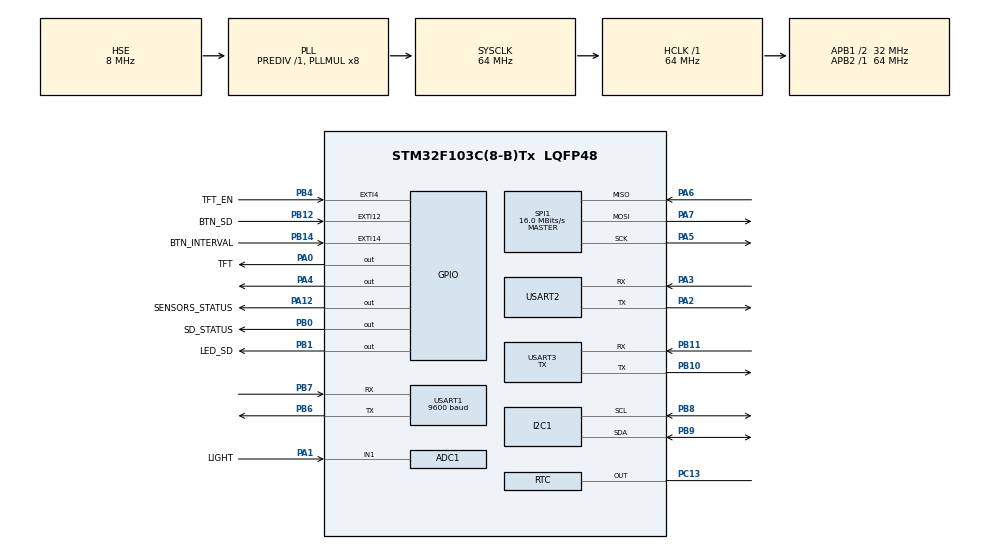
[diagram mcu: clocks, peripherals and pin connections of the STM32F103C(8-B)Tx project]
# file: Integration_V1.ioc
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ADC1.Channel-0\#ChannelRegularConversion=ADC_CHANNEL_1
ADC1.ContinuousConvMode=ENABLE
ADC1.NbrOfConversion=1
ADC1.NbrOfConversionFlag=1
ADC1.Rank-0\#ChannelRegularConversion=1
ADC1.SamplingTime-0\#ChannelRegularConversion=ADC_SAMPLETIME_1CYCLE_5
ADC1.master=1
FATFS._MAX_SS=4096
FATFS._USE_LFN=1
Mcu.Family=STM32F1
Mcu.Name=STM32F103C(8-B)Tx
Mcu.Package=LQFP48
NVIC.EXTI15_10_IRQn=true\:4\:0\:true\:false\:true\:true\:true\:true
NVIC.EXTI4_IRQn=true\:0\:0\:false\:false\:true\:true\:true\:true
NVIC.I2C1_EV_IRQn=true\:3\:0\:true\:false\:true\:true\:true\:true
NVIC.PriorityGroup=NVIC_PRIORITYGROUP_4
NVIC.TIM2_IRQn=true\:2\:0\:true\:false\:true\:true\:true\:true
NVIC.TIM3_IRQn=true\:0\:0\:false\:false\:true\:true\:true\:true
NVIC.USART3_IRQn=true\:0\:0\:false\:false\:true\:true\:true\:true
PA0-WKUP.GPIO_Label=TFT
PA0-WKUP.GPIO_PuPd=GPIO_PULLDOWN
PA0-WKUP.Signal=GPIO_Output
PA1.GPIO_Label=LIGHT
PA1.Signal=ADCx_IN1
PA12.GPIO_Label=SENSORS_STATUS
PA12.Signal=GPIO_Output
PA13.Mode=Serial_Wire
PA13.Signal=SYS_JTMS-SWDIO
PA14.Mode=Serial_Wire
PA14.Signal=SYS_JTCK-SWCLK
PA2.Mode=Asynchronous
PA2.Signal=USART2_TX
PA3.Mode=Asynchronous
PA3.Signal=USART2_RX
PA4.Signal=GPIO_Output
PA5.Mode=Full_Duplex_Master
PA5.Signal=SPI1_SCK
PA6.Mode=Full_Duplex_Master
PA6.Signal=SPI1_MISO
PA7.Mode=Full_Duplex_Master
PA7.Signal=SPI1_MOSI
PB0.GPIO_Label=SD_STATUS
PB0.GPIO_ModeDefaultOutputPP=GPIO_MODE_OUTPUT_PP
PB0.PinState=GPIO_PIN_RESET
PB0.Signal=GPIO_Output
PB1.GPIO_Label=LED_SD
PB1.Signal=GPIO_Output
PB10.Mode=Asynchronous
PB10.Signal=USART3_TX
PB11.Mode=Asynchronous
PB11.Signal=USART3_RX
PB12.GPIO_Label=BTN_SD
PB12.GPIO_ModeDefaultEXTI=GPIO_MODE_IT_FALLING
PB12.GPIO_PuPd=GPIO_PULLUP
PB12.Signal=GPXTI12
PB14.GPIO_Label=BTN_INTERVAL
PB14.GPIO_ModeDefaultEXTI=GPIO_MODE_IT_FALLING
PB14.GPIO_PuPd=GPIO_PULLUP
PB14.Signal=GPXTI14
PB4.GPIO_Label=TFT_EN
PB4.GPIO_ModeDefaultEXTI=GPIO_MODE_IT_RISING_FALLING
PB4.GPIO_PuPd=GPIO_PULLUP
PB4.Signal=GPXTI4
PB6.Mode=Asynchronous
PB6.Signal=USART1_TX
PB7.Mode=Asynchronous
PB7.Signal=USART1_RX
PB8.Mode=I2C
PB8.Signal=I2C1_SCL
PB9.Mode=I2C
PB9.Signal=I2C1_SDA
PC13-TAMPER-RTC.Mode=RTC OUT
PC13-TAMPER-RTC.Signal=RTC_OUT
PC14-OSC32_IN.Mode=LSE-External-Oscillator
PC14-OSC32_IN.Signal=RCC_OSC32_IN
PC15-OSC32_OUT.Mode=LSE-External-Oscillator
PC15-OSC32_OUT.Signal=RCC_OSC32_OUT
PD0-OSC_IN.Mode=HSE-External-Oscillator
PD0-OSC_IN.Signal=RCC_OSC_IN
PD1-OSC_OUT.Mode=HSE-External-Oscillator
PD1-OSC_OUT.Signal=RCC_OSC_OUT
ProjectManager.HeapSize=0x200
ProjectManager.StackSize=0x400
ProjectManager.TargetToolchain=STM32CubeIDE
RCC.ADCPresc=RCC_ADCPCLK2_DIV8
RCC.AHBFreq_Value=64000000
RCC.APB1CLKDivider=RCC_HCLK_DIV2
RCC.APB1Freq_Value=32000000
RCC.APB1TimFreq_Value=64000000
RCC.APB2Freq_Value=64000000
RCC.APB2TimFreq_Value=64000000
RCC.HCLKFreq_Value=64000000
RCC.PLLMUL=RCC_PLL_MUL8
RCC.PLLSourceVirtual=RCC_PLLSOURCE_HSE
RCC.RTCClockSelection=RCC_RTCCLKSOURCE_LSE
RCC.SYSCLKFreq_VALUE=64000000
RCC.SYSCLKSource=RCC_SYSCLKSOURCE_PLLCLK
RCC.USBFreq_Value=64000000
RTC.Date=21
RTC.Hours=18
RTC.Minutes=4
RTC.Month=RTC_MONTH_SEPTEMBER
RTC.WeekDay=RTC_WEEKDAY_WEDNESDAY
RTC.Year=22
SH.ADCx_IN1.0=ADC1_IN1,IN1
SPI1.BaudRatePrescaler=SPI_BAUDRATEPRESCALER_4
SPI1.CalculateBaudRate=16.0 MBits/s
SPI1.Direction=SPI_DIRECTION_2LINES
SPI1.Mode=SPI_MODE_MASTER
SPI1.VirtualType=VM_MASTER
TIM2.AutoReloadPreload=TIM_AUTORELOAD_PRELOAD_ENABLE
TIM2.Period=64000
TIM2.Prescaler=30000 
TIM3.Period=6400-1
TIM3.Prescaler=2000-1
USART1.BaudRate=9600
USART1.Mode=MODE_RX
USART1.VirtualMode=VM_ASYNC
USART2.VirtualMode=VM_ASYNC
USART3.Mode=MODE_TX
USART3.VirtualMode=VM_ASYNC
VP_FATFS_VS_Generic.Mode=User_defined
VP_RTC_VS_RTC_Activate.Mode=RTC_Enabled
VP_RTC_VS_RTC_Calendar.Mode=RTC_Calendar
VP_TIM2_VS_ClockSourceINT.Mode=Internal
VP_TIM3_VS_ClockSourceINT.Mode=Internal
board=custom

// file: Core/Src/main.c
/* USER CODE BEGIN Header */
/**
  ******************************************************************************
  * @file           : main.c
  * @brief          : Main program body
  ******************************************************************************
  * @attention
  *
  * Copyright (c) 2022 STMicroelectronics.
  * All rights reserved.
  *
  * This software is licensed under terms that can be found in the LICENSE file
  * in the root directory of this software component.
  * If no LICENSE file comes with this software, it is provided AS-IS.
  *
  ******************************************************************************
  */
// UART2: DEBUG
// UART1: DUST SENSOR

/* USER CODE END Header */
#include "main.h"
#include "fatfs.h"

/* USER CODE BEGIN Includes */
#include "bmp280.h"
#include "sht21.h"
#include <stdio.h>

/* USER CODE END Includes */

/* USER CODE BEGIN PTD */

//DEFINITIONS FOR STATES
#define IDLE 			0x01
#define GET_TIMEDATE 	0x02
#define READ_SENSORS 	0x03
#define READ_ANALOG 	0x04
#define SEND_DATA		0x05
#define STORE_SD	 	0x06
#define SEND_INFO 		0X07
#define REMOVE_SD 		0x08
#define INSERT_SD 		0x09

//DEFINITIONS FOR INTERVAL MEASUREMENT
#define SEG_30	1
#define MIN_1   2
#define MIN_10  20
#define MIN_30  60
#define HR_1   	120
#define HR_12  1440
#define HR_24   2880

//DEFINITIONS FOR CO2 SENSOR
#define SCD30_I2C_ADDR		0xC2 //The real one is 0x61
#define START_MEASURE_MSB 	0x00
#define START_MEASURE_LSB 	0x10
#define PRESSURE_MSB 		0x00
#define PRESSURE_LSB 		0x00
#define STOP_MEASURE_MSB 	0x01
#define STOP_MEASURE_LSB 	0x04
#define GET_STATUS_MSB 		0x02
#define GET_STATUS_LSB 		0x02
#define READ_MSB 			0x03
#define READ_LSB 			0x00
#define FIRMWARE_MSB		0xD1
#define FIRMWARE_LSB 		0x00
#define RESET_MSB			0xD3
#define RESET_LSB			0x04
#define CRC	0x81

//DEFINITIONS FOR COMMANDS

typedef struct {
	UART_HandleTypeDef *PMS_huart;
	uint8_t PMS_MODE;
	uint16_t PM1_0_atmospheric; // concentration unit * μg/m3 - under atmospheric environment
	uint16_t PM2_5_atmospheric;
	uint16_t PM10_atmospheric;
	uint16_t density_2_5um;
	uint16_t density_5_0um;
	uint16_t density_10um;
}Sensor_PMS;

typedef struct {
	bool BMP280;
	bool SHT21;
	bool dust;
	bool SCD30;
}Sensors;

union {
    float value;
    uint8_t bytes[4];
}u;

//union{
//	uint8_t command;
//	uint8_t byteCommand[1];
//}c;

/* USER CODE END PTD */

/* USER CODE BEGIN PD */
FATFS fs;
FIL fil;
/* USER CODE END PD */

ADC_HandleTypeDef hadc1;

I2C_HandleTypeDef hi2c1;

RTC_HandleTypeDef hrtc;

SPI_HandleTypeDef hspi1;

TIM_HandleTypeDef htim2;
TIM_HandleTypeDef htim3;

UART_HandleTypeDef huart1;
UART_HandleTypeDef huart2;
UART_HandleTypeDef huart3;

/* USER CODE BEGIN PV */

//CONTROL VARIABLES
I2C_HandleTypeDef * scd30_i2c;
volatile uint8_t state = IDLE; //Initial State
Sensors SensorList = {false}; //Array stores sensor status.
volatile bool storeSD = true; //By default, the system store the data on the SD.
volatile uint8_t counterSD = 0; //Count the the times the button was pressed for the SD.
volatile uint8_t counterInterval=0; //Count the times the button was pressed to set the timeLimit.
volatile uint8_t intervalSet=false; //Detect if interval was changed.

//*************************************************** TFT //***************************************************
volatile bool tim2First=true; //To catch the first time the tim2 IT is activated. 30s is the base
volatile bool tim3First=true; //To catch the first time the tim3 IT is activated.

volatile bool txFirstFinished=false;
volatile bool txSecondFinished=false;

uint8_t counter200=0;
bool counter200Flag=true;

uint8_t counterSend=0;
//***************************************************//***************************************************

volatile uint16_t timeLimit = SEG_30; //Default: 30s for each measurement
volatile uint16_t counter30s=0; //Count the times the timer for 30s is deployed.
volatile bool timActive = false; //Flag to know if Main timer is counting seconds.
volatile bool showTFT = true; //Flag to enable or disable TFT display
volatile bool storeFinished = false; //Flag to know if the data was stored on SD.
volatile bool showFinished = false; //Flag to know if the data was displayed on TFT.
volatile bool readFinished = false; //Flag to know if the sensors were read correctly.
volatile uint16_t size=0;  //Size of the sent file

uint32_t counterLog = 0;  //Count for the file generation on SD
uint8_t logStored= 0;  //Count for the file generation on SD
uint8_t counterRx = 0;

volatile uint8_t Data[256];  //Data to be sent
volatile uint8_t DataTFT[256]; //Data sent to the TFT
volatile uint8_t nameFile[256]; //Var to store file name on the SD
volatile uint8_t bytes[4];

Sensor_PMS PMS5003 = {0}; //Structure for dust concentration
uint8_t rxbuf[32] = {0}; // Buffer to recieve the response of PMS5003

BMP280_HandleTypedef bmp280; //handler for sensor
uint8_t id=0; //ID for the BME280

RTC_TimeTypeDef time; //For RTC time
RTC_DateTypeDef date; //For RTC date

float pressure, temperature, humidity; //Variables stored
float temperature2, humidity2;
float temperature3, humidity3, CO2;
float light = 99.9; //Test

//Commands sent to the TFT module
uint8_t Commands[4]={0};

/* USER CODE END PV */

void SystemClock_Config(void);
static void MX_GPIO_Init(void);
static void MX_SPI1_Init(void);
static void MX_RTC_Init(void);
static void MX_USART1_UART_Init(void);
static void MX_TIM2_Init(void);
static void MX_I2C1_Init(void);
static void MX_USART2_UART_Init(void);
static void MX_ADC1_Init(void);
static void MX_USART3_UART_Init(void);
static void MX_TIM3_Init(void);
/* USER CODE BEGIN PFP */

Status_Flag Init_SD(void);
Status_Flag Write_SD(char* p);
Status_Flag Init_Sensors(void);
Status_Flag Init_BMP280(void);
Status_Flag SCD30_Init(I2C_HandleTypeDef *hi2c);
Status_Flag Read_BMP280(void);
Status_Flag Read_Dust(void);
Status_Flag Read_All_Sensors(void);
Status_Flag Set_Status(void);
Status_Flag Leer_TFTSwitch(void);
void SCD30_Start(void);
void SCD30_Restart(void);
Status_Flag SCD30_Read(float *temperature, float* humidity, float* CO2);
void WriteMsg(char message[]);
void Calculate_Time(uint16_t time);
void Calculate_SdStat(void);
void Send_Commands(void);

/* USER CODE END PFP */

/* USER CODE BEGIN 0 */
void set_time(void){

	RTC_TimeTypeDef sTime = {0};
	RTC_DateTypeDef DateToUpdate = {0};

	sTime.Hours = 0x08;
	sTime.Minutes = 0x48;
	sTime.Seconds = 0x0;
	WriteMsg("Setting time and date...");
	if (HAL_RTC_SetTime(&hrtc, &sTime, RTC_FORMAT_BCD) != HAL_OK)
	{
	Error_Handler();
	}

	DateToUpdate.WeekDay = RTC_WEEKDAY_FRIDAY;
	DateToUpdate.Month = RTC_MONTH_MARCH;
	DateToUpdate.Date = 0x31;
	DateToUpdate.Year = 0x23;

	if (HAL_RTC_SetDate(&hrtc, &DateToUpdate, RTC_FORMAT_BCD) != HAL_OK)
	{
	Error_Handler();
	}

	/* USER CODE BEGIN Check_RTC_BKUP */
	HAL_RTCEx_BKUPWrite(&hrtc, RTC_BKP_DR1, 0x32F0);
	counterLog=1; //Starts with 0 and then 1. //To create new log file on SD
	HAL_RTCEx_BKUPWrite(&hrtc, RTC_BKP_DR2, counterLog); //First stores counterLog=1.. Always
	/* USER CODE END Check_RTC_BKUP */
}

/* USER CODE END 0 */

int main(void)
{

  /* MCU Configuration--------------------------------------------------------*/

  /* Reset of all peripherals, Initializes the Flash interface and the Systick. */
  HAL_Init();

  /* Configure the system clock */
  SystemClock_Config();

  /* Initialize all configured peripherals */
  MX_GPIO_Init();
  MX_SPI1_Init();
  MX_FATFS_Init();
  MX_RTC_Init();
  MX_USART1_UART_Init();
  MX_TIM2_Init();
  MX_I2C1_Init();
  MX_USART2_UART_Init();
  MX_ADC1_Init();
  MX_USART3_UART_Init();
  MX_TIM3_Init();
  /* USER CODE BEGIN 2 */

  I2C_HandleTypeDef *scd30_i2c;

  if (HAL_RTCEx_BKUPRead(&hrtc, RTC_BKP_DR1) != 0x32F0){ //This is made to avoid reset the time again and again
	  WriteMsg("Setting for 1st time the RTC Time and file name!\r\n");
	  set_time();
	  size=sprintf( (char *)Data, "LOG stored %d.csv\r\n", counterLog);
	  HAL_UART_Transmit(&huart2, Data, size, 1000);
	  __HAL_TIM_SET_COUNTER(&htim2,43689);
  } else { //Solo se reseteo
	  WriteMsg("Just RESET! Was not the 1st time\r\n");
	  counterLog = HAL_RTCEx_BKUPRead(&hrtc, RTC_BKP_DR2);
	  counterLog++;
	  HAL_RTCEx_BKUPWrite(&hrtc, RTC_BKP_DR2, counterLog); //Stores the value for future files
	  size=sprintf( (char *)Data, "LOG stored %d.csv\r\n", counterLog);
	  HAL_UART_Transmit(&huart2, Data, size, 1000);
	  __HAL_TIM_SET_COUNTER(&htim2,43689);
	  intervalSet= true; //CHECK THIS!!!!
  }

  if (HAL_RTCEx_BKUPRead(&hrtc, RTC_BKP_DR4)== 0x1010){ //The limit was modified
	  timeLimit = HAL_RTCEx_BKUPRead(&hrtc, RTC_BKP_DR3);
	  size=sprintf( (char *)Data, "TimeLimit RECOVERED %d\r\n", timeLimit);
	  HAL_UART_Transmit(&huart2, Data, size, 1000);
	  Calculate_Time(timeLimit);
  } else {
	  HAL_RTCEx_BKUPWrite(&hrtc, RTC_BKP_DR3, timeLimit); //30s default
	  Calculate_Time(timeLimit);
  }

  WriteMsg("Welcome to the sensing platform \r\n");
  HAL_GPIO_WritePin(TFT_GPIO_Port, TFT_Pin, 0); //Send 1 to indicate i will send data
  HAL_GPIO_WritePin(SD_STATUS_GPIO_Port, SD_STATUS_Pin, 0); //By default, SD store is enabled.
  HAL_GPIO_WritePin(SENSORS_STATUS_GPIO_Port, SENSORS_STATUS_Pin, 0); //By default, SD store is enabled.

  WriteMsg("Starting... Please Wait\r\n");
  WriteMsg("Checking tft switch\r\n");
  Leer_TFTSwitch(); //Check for the button TFT status
  HAL_Delay(100);
  WriteMsg("Deinit I2C\r\n"); //To get SDC30 work.
  HAL_I2C_DeInit(&hi2c1);
  HAL_Delay(100);
  WriteMsg("Init I2C again\r\n");
  HAL_I2C_Init(&hi2c1);
  HAL_Delay(1000); //before:100

  Init_Sensors(); //Maybe set a condition to stop measurements when some sensor is failing
  Init_SD();
  HAL_ADC_Start(&hadc1);

  Calculate_SdStat();

  WriteMsg("Sending initial commands \r\n");
  Send_Commands();

  HAL_GPIO_WritePin(SD_STATUS_GPIO_Port, SD_STATUS_Pin, 1); //By default, SD store is enabled.
  HAL_GPIO_WritePin(SENSORS_STATUS_GPIO_Port, SENSORS_STATUS_Pin, 1); //By default, SD store is enabled.
  HAL_Delay(500);
  Set_Status();

  /* USER CODE END 2 */

  /* Infinite loop */
  /* USER CODE BEGIN WHILE */
  while (1)
  {
	switch (state) {
		case IDLE: //Read_Dust
			if (!timActive){
				HAL_TIM_Base_Start_IT(&htim2); //Start counting 30s
				timActive=true;
			}
			Read_Dust();
			break;

		case GET_TIMEDATE:
			HAL_RTC_GetTime(&hrtc, &time, RTC_FORMAT_BIN);
			HAL_RTC_GetDate(&hrtc, &date, RTC_FORMAT_BIN);
			state = READ_SENSORS;
			break;

		case READ_SENSORS:
			//Check this and calculate time!
			Read_All_Sensors();
			Set_Status();
			if (storeSD){
				state=STORE_SD;
			} else {
				state = SEND_DATA;
			}
			break;

//		case READ_ANALOG:
////			WriteMsg("ReadAnalog State\r\n");
//			HAL_ADC_PollForConversion(&hadc1, 100);
//			light=HAL_ADC_GetValue(&hadc1);
//			size=sprintf((char *)Data, "The light is: %d \r\n",light);
//			HAL_UART_Transmit(&huart2, Data, size, 1000);
//
//			if (sdPresent){
//				HAL_GPIO_WritePin(LED_YELLOW_GPIO_Port, LED_YELLOW_Pin, 1);
//				state=STORE_SD;
//			} else {
//				HAL_GPIO_WritePin(LED_YELLOW_GPIO_Port, LED_YELLOW_Pin, 0);
//				state=SEND_INFO;
//			}
//			break;

		case STORE_SD:
			memset(Data, 0, sizeof(Data)); //Borra la info de "Data"
			if (PMS5003.PM1_0_atmospheric > 600){
				PMS5003.PM1_0_atmospheric = 0;
			}
			if (PMS5003.PM2_5_atmospheric > 600){
						PMS5003.PM2_5_atmospheric = 0;
					}
			if (PMS5003.PM10_atmospheric > 600){
						PMS5003.PM10_atmospheric = 0;
					}
			size=sprintf((char *)Data, "%d,%d,%d,%d,%d,%.2f,%.2f,%.2f,%.2f,%.2f,%d,%d,%d,%.2f \r\n",time.Hours, time.Minutes, time.Seconds, date.Date, date.Month, temperature, humidity, pressure, CO2,light,PMS5003.PM1_0_atmospheric, PMS5003.PM2_5_atmospheric, PMS5003.PM10_atmospheric,temperature2);
			HAL_UART_Transmit(&huart2, Data, size, 1000); //Debug
			Write_SD(&Data); //Store the frame captured on the SD
			storeFinished=true;
			state=SEND_DATA;
			break;

		case REMOVE_SD:
			memset(Data, 0, sizeof(Data)); //Borra la info de "Data"
			WriteMsg("Extracting SD. Wait...\r\n");
			size=sprintf((char*)Data,"Finishing session\r\n");
			f_open(&fil,nameFile, FA_OPEN_ALWAYS | FA_WRITE | FA_READ);
			f_lseek(&fil, fil.fsize);
			f_puts(Data, &fil);
			f_close(&fil);

			HAL_RTCEx_BKUPWrite(&hrtc, RTC_BKP_DR2, counterLog); //Here the SD is extracted!
			storeSD=false; //Because the SD was removed.
			HAL_GPIO_WritePin(SD_STATUS_GPIO_Port, SD_STATUS_Pin,0);
			Calculate_SdStat();
			Send_Commands();
			WriteMsg("You can extract the SD...\r\n");

			HAL_TIM_Base_Start_IT(&htim2); //Start counting 30s or x time again
			timActive=true;
			tim2First=true; //Check this
			WriteMsg("Timer started again \r\n");
			state=IDLE;
			break;

		case INSERT_SD:
			HAL_GPIO_TogglePin(SD_STATUS_GPIO_Port, SD_STATUS_Pin);
			counterSD=0;
			WriteMsg("Reinserting the SD!\r\n");
			WriteMsg("Restarting...!\r\n");
//			counterLog=1;
//			HAL_RTCEx_BKUPWrite(&hrtc, RTC_BKP_DR2, counterLog); //Here the SD is inserted again!
			NVIC_SystemReset();
			break;

		case SEND_DATA:
			HAL_GPIO_WritePin(TFT_GPIO_Port, TFT_Pin, 1); //Send 1 to indicate i will send data
			WriteMsg("LINE HIGH \r\n");

			//temperature=25.2;
			u.value = temperature;
			HAL_UART_Transmit(&huart3, u.bytes, 4,HAL_MAX_DELAY); //Transmit to the TFT
			WriteMsg("Temperature Sent \r\n");
			//memset(bytes, 0, 4);

			//humidity=48.57;
			u.value=humidity;
			HAL_UART_Transmit(&huart3, u.bytes, 4,HAL_MAX_DELAY); //Transmit to the TFT
			WriteMsg("HUM1 Sent \r\n");

			//pressure = 90.99;
			u.value=pressure;
			HAL_UART_Transmit(&huart3, u.bytes, 4,HAL_MAX_DELAY); //Transmit to the TFT
			WriteMsg("Pressure Sent \r\n");

			u.value = PMS5003.PM1_0_atmospheric;
			HAL_UART_Transmit(&huart3, u.bytes, 4,HAL_MAX_DELAY); //Transmit to the TFT
			WriteMsg("PM1.0 SENT \r\n");
			//memset(bytes, 0, 4);

			u.value=PMS5003.PM2_5_atmospheric;
			HAL_UART_Transmit(&huart3, u.bytes, 4,HAL_MAX_DELAY); //Transmit to the TFT
			WriteMsg("PM2.5 SENT \r\n");

			u.value=PMS5003.PM10_atmospheric;
			HAL_UART_Transmit(&huart3, u.bytes, 4,HAL_MAX_DELAY); //Transmit to the TFT
			WriteMsg("PM10 SENT \r\n");

			u.value = CO2;
			HAL_UART_Transmit(&huart3, u.bytes, 4,HAL_MAX_DELAY); //Transmit to the TFT
			WriteMsg("CO2 SENT \r\n");
			//memset(bytes, 0, 4);

			u.value=light;
			HAL_UART_Transmit(&huart3, u.bytes, 4,HAL_MAX_DELAY); //Transmit to the TFT
			WriteMsg("LIGHT SENT \r\n");

			u.value=temperature2;
			HAL_UART_Transmit(&huart3, u.bytes, 4,HAL_MAX_DELAY); //Transmit to the TFT
			WriteMsg("TEMP2 SENT \r\n");

			HAL_GPIO_WritePin(TFT_GPIO_Port, TFT_Pin, 0); //Send 1 to indicate i will send data
			WriteMsg("LINE LOW \r\n");

			state=IDLE;
			WriteMsg("Going to IDLE... \r\n");
			break;

		default:
			state = IDLE;
			break;
	}

    /* USER CODE END WHILE */

  }
}

void SystemClock_Config(void)
{
  RCC_OscInitTypeDef RCC_OscInitStruct = {0};
  RCC_ClkInitTypeDef RCC_ClkInitStruct = {0};
  RCC_PeriphCLKInitTypeDef PeriphClkInit = {0};

  /** Initializes the RCC Oscillators according to the specified parameters
  * in the RCC_OscInitTypeDef structure.
  */
  RCC_OscInitStruct.OscillatorType = RCC_OSCILLATORTYPE_HSE|RCC_OSCILLATORTYPE_LSE;
  RCC_OscInitStruct.HSEState = RCC_HSE_ON;
  RCC_OscInitStruct.HSEPredivValue = RCC_HSE_PREDIV_DIV1;
  RCC_OscInitStruct.LSEState = RCC_LSE_ON;
  RCC_OscInitStruct.HSIState = RCC_HSI_ON;
  RCC_OscInitStruct.PLL.PLLState = RCC_PLL_ON;
  RCC_OscInitStruct.PLL.PLLSource = RCC_PLLSOURCE_HSE;
  RCC_OscInitStruct.PLL.PLLMUL = RCC_PLL_MUL8;
  if (HAL_RCC_OscConfig(&RCC_OscInitStruct) != HAL_OK)
  {
    Error_Handler();
  }

  /** Initializes the CPU, AHB and APB buses clocks
  */
  RCC_ClkInitStruct.ClockType = RCC_CLOCKTYPE_HCLK|RCC_CLOCKTYPE_SYSCLK
                              |RCC_CLOCKTYPE_PCLK1|RCC_CLOCKTYPE_PCLK2;
  RCC_ClkInitStruct.SYSCLKSource = RCC_SYSCLKSOURCE_PLLCLK;
  RCC_ClkInitStruct.AHBCLKDivider = RCC_SYSCLK_DIV1;
  RCC_ClkInitStruct.APB1CLKDivider = RCC_HCLK_DIV2;
  RCC_ClkInitStruct.APB2CLKDivider = RCC_HCLK_DIV1;

  if (HAL_RCC_ClockConfig(&RCC_ClkInitStruct, FLASH_LATENCY_2) != HAL_OK)
  {
    Error_Handler();
  }
  PeriphClkInit.PeriphClockSelection = RCC_PERIPHCLK_RTC|RCC_PERIPHCLK_ADC;
  PeriphClkInit.RTCClockSelection = RCC_RTCCLKSOURCE_LSE;
  PeriphClkInit.AdcClockSelection = RCC_ADCPCLK2_DIV8;
  if (HAL_RCCEx_PeriphCLKConfig(&PeriphClkInit) != HAL_OK)
  {
    Error_Handler();
  }
}

static void MX_ADC1_Init(void)
{

  ADC_ChannelConfTypeDef sConfig = {0};

  /** Common config
  */
  hadc1.Instance = ADC1;
  hadc1.Init.ScanConvMode = ADC_SCAN_DISABLE;
  hadc1.Init.ContinuousConvMode = ENABLE;
  hadc1.Init.DiscontinuousConvMode = DISABLE;
  hadc1.Init.ExternalTrigConv = ADC_SOFTWARE_START;
  hadc1.Init.DataAlign = ADC_DATAALIGN_RIGHT;
  hadc1.Init.NbrOfConversion = 1;
  if (HAL_ADC_Init(&hadc1) != HAL_OK)
  {
    Error_Handler();
  }

  /** Configure Regular Channel
  */
  sConfig.Channel = ADC_CHANNEL_1;
  sConfig.Rank = ADC_REGULAR_RANK_1;
  sConfig.SamplingTime = ADC_SAMPLETIME_1CYCLE_5;
  if (HAL_ADC_ConfigChannel(&hadc1, &sConfig) != HAL_OK)
  {
    Error_Handler();
  }

}

static void MX_I2C1_Init(void)
{

  hi2c1.Instance = I2C1;
  hi2c1.Init.ClockSpeed = 100000;
  hi2c1.Init.DutyCycle = I2C_DUTYCYCLE_2;
  hi2c1.Init.OwnAddress1 = 0;
  hi2c1.Init.AddressingMode = I2C_ADDRESSINGMODE_7BIT;
  hi2c1.Init.DualAddressMode = I2C_DUALADDRESS_DISABLE;
  hi2c1.Init.OwnAddress2 = 0;
  hi2c1.Init.GeneralCallMode = I2C_GENERALCALL_DISABLE;
  hi2c1.Init.NoStretchMode = I2C_NOSTRETCH_DISABLE;
  if (HAL_I2C_Init(&hi2c1) != HAL_OK)
  {
    Error_Handler();
  }

}

static void MX_RTC_Init(void)
{

  /** Initialize RTC Only
  */
  hrtc.Instance = RTC;
  hrtc.Init.AsynchPrediv = RTC_AUTO_1_SECOND;
  hrtc.Init.OutPut = RTC_OUTPUTSOURCE_ALARM;
  if (HAL_RTC_Init(&hrtc) != HAL_OK)
  {
    Error_Handler();
  }

}

static void MX_SPI1_Init(void)
{

  /* SPI1 parameter configuration*/
  hspi1.Instance = SPI1;
  hspi1.Init.Mode = SPI_MODE_MASTER;
  hspi1.Init.Direction = SPI_DIRECTION_2LINES;
  hspi1.Init.DataSize = SPI_DATASIZE_8BIT;
  hspi1.Init.CLKPolarity = SPI_POLARITY_LOW;
  hspi1.Init.CLKPhase = SPI_PHASE_1EDGE;
  hspi1.Init.NSS = SPI_NSS_SOFT;
  hspi1.Init.BaudRatePrescaler = SPI_BAUDRATEPRESCALER_4;
  hspi1.Init.FirstBit = SPI_FIRSTBIT_MSB;
  hspi1.Init.TIMode = SPI_TIMODE_DISABLE;
  hspi1.Init.CRCCalculation = SPI_CRCCALCULATION_DISABLE;
  hspi1.Init.CRCPolynomial = 10;
  if (HAL_SPI_Init(&hspi1) != HAL_OK)
  {
    Error_Handler();
  }

}

static void MX_TIM2_Init(void)
{

  TIM_ClockConfigTypeDef sClockSourceConfig = {0};
  TIM_MasterConfigTypeDef sMasterConfig = {0};

  htim2.Instance = TIM2;
  htim2.Init.Prescaler = 30000 ;
  htim2.Init.CounterMode = TIM_COUNTERMODE_UP;
  htim2.Init.Period = 64000;
  htim2.Init.ClockDivision = TIM_CLOCKDIVISION_DIV1;
  htim2.Init.AutoReloadPreload = TIM_AUTORELOAD_PRELOAD_ENABLE;
  if (HAL_TIM_Base_Init(&htim2) != HAL_OK)
  {
    Error_Handler();
  }
  sClockSourceConfig.ClockSource = TIM_CLOCKSOURCE_INTERNAL;
  if (HAL_TIM_ConfigClockSource(&htim2, &sClockSourceConfig) != HAL_OK)
  {
    Error_Handler();
  }
  sMasterConfig.MasterOutputTrigger = TIM_TRGO_RESET;
  sMasterConfig.MasterSlaveMode = TIM_MASTERSLAVEMODE_DISABLE;
  if (HAL_TIMEx_MasterConfigSynchronization(&htim2, &sMasterConfig) != HAL_OK)
  {
    Error_Handler();
  }

}

static void MX_TIM3_Init(void)
{

  TIM_ClockConfigTypeDef sClockSourceConfig = {0};
  TIM_MasterConfigTypeDef sMasterConfig = {0};

  htim3.Instance = TIM3;
  htim3.Init.Prescaler = 2000-1;
  htim3.Init.CounterMode = TIM_COUNTERMODE_UP;
  htim3.Init.Period = 6400-1;
  htim3.Init.ClockDivision = TIM_CLOCKDIVISION_DIV1;
  htim3.Init.AutoReloadPreload = TIM_AUTORELOAD_PRELOAD_DISABLE;
  if (HAL_TIM_Base_Init(&htim3) != HAL_OK)
  {
    Error_Handler();
  }
  sClockSourceConfig.ClockSource = TIM_CLOCKSOURCE_INTERNAL;
  if (HAL_TIM_ConfigClockSource(&htim3, &sClockSourceConfig) != HAL_OK)
  {
    Error_Handler();
  }
  sMasterConfig.MasterOutputTrigger = TIM_TRGO_RESET;
  sMasterConfig.MasterSlaveMode = TIM_MASTERSLAVEMODE_DISABLE;
  if (HAL_TIMEx_MasterConfigSynchronization(&htim3, &sMasterConfig) != HAL_OK)
  {
    Error_Handler();
  }

}

static void MX_USART1_UART_Init(void)
{

  huart1.Instance = USART1;
  huart1.Init.BaudRate = 9600;
  huart1.Init.WordLength = UART_WORDLENGTH_8B;
  huart1.Init.StopBits = UART_STOPBITS_1;
  huart1.Init.Parity = UART_PARITY_NONE;
  huart1.Init.Mode = UART_MODE_RX;
  huart1.Init.HwFlowCtl = UART_HWCONTROL_NONE;
  huart1.Init.OverSampling = UART_OVERSAMPLING_16;
  if (HAL_UART_Init(&huart1) != HAL_OK)
  {
    Error_Handler();
  }

}

static void MX_USART2_UART_Init(void)
{

  huart2.Instance = USART2;
  huart2.Init.BaudRate = 115200;
  huart2.Init.WordLength = UART_WORDLENGTH_8B;
  huart2.Init.StopBits = UART_STOPBITS_1;
  huart2.Init.Parity = UART_PARITY_NONE;
  huart2.Init.Mode = UART_MODE_TX_RX;
  huart2.Init.HwFlowCtl = UART_HWCONTROL_NONE;
  huart2.Init.OverSampling = UART_OVERSAMPLING_16;
  if (HAL_UART_Init(&huart2) != HAL_OK)
  {
    Error_Handler();
  }

}

static void MX_USART3_UART_Init(void)
{

  huart3.Instance = USART3;
  huart3.Init.BaudRate = 115200;
  huart3.Init.WordLength = UART_WORDLENGTH_8B;
  huart3.Init.StopBits = UART_STOPBITS_1;
  huart3.Init.Parity = UART_PARITY_NONE;
  huart3.Init.Mode = UART_MODE_TX;
  huart3.Init.HwFlowCtl = UART_HWCONTROL_NONE;
  huart3.Init.OverSampling = UART_OVERSAMPLING_16;
  if (HAL_UART_Init(&huart3) != HAL_OK)
  {
    Error_Handler();
  }

}

static void MX_GPIO_Init(void)
{
  GPIO_InitTypeDef GPIO_InitStruct = {0};

  /* GPIO Ports Clock Enable */
  __HAL_RCC_GPIOC_CLK_ENABLE();
  __HAL_RCC_GPIOD_CLK_ENABLE();
  __HAL_RCC_GPIOA_CLK_ENABLE();
  __HAL_RCC_GPIOB_CLK_ENABLE();

  /*Configure GPIO pin Output Level */
  HAL_GPIO_WritePin(GPIOA, TFT_Pin|GPIO_PIN_4|SENSORS_STATUS_Pin, GPIO_PIN_RESET);

  /*Configure GPIO pin Output Level */
  HAL_GPIO_WritePin(GPIOB, SD_STATUS_Pin|LED_SD_Pin, GPIO_PIN_RESET);

  /*Configure GPIO pin : TFT_Pin */
  GPIO_InitStruct.Pin = TFT_Pin;
  GPIO_InitStruct.Mode = GPIO_MODE_OUTPUT_PP;
  GPIO_InitStruct.Pull = GPIO_PULLDOWN;
  GPIO_InitStruct.Speed = GPIO_SPEED_FREQ_LOW;
  HAL_GPIO_Init(TFT_GPIO_Port, &GPIO_InitStruct);

  /*Configure GPIO pins : PA4 SENSORS_STATUS_Pin */
  GPIO_InitStruct.Pin = GPIO_PIN_4|SENSORS_STATUS_Pin;
  GPIO_InitStruct.Mode = GPIO_MODE_OUTPUT_PP;
  GPIO_InitStruct.Pull = GPIO_NOPULL;
  GPIO_InitStruct.Speed = GPIO_SPEED_FREQ_LOW;
  HAL_GPIO_Init(GPIOA, &GPIO_InitStruct);

  /*Configure GPIO pins : SD_STATUS_Pin LED_SD_Pin */
  GPIO_InitStruct.Pin = SD_STATUS_Pin|LED_SD_Pin;
  GPIO_InitStruct.Mode = GPIO_MODE_OUTPUT_PP;
  GPIO_InitStruct.Pull = GPIO_NOPULL;
  GPIO_InitStruct.Speed = GPIO_SPEED_FREQ_LOW;
  HAL_GPIO_Init(GPIOB, &GPIO_InitStruct);

  /*Configure GPIO pins : BTN_SD_Pin BTN_INTERVAL_Pin */
  GPIO_InitStruct.Pin = BTN_SD_Pin|BTN_INTERVAL_Pin;
  GPIO_InitStruct.Mode = GPIO_MODE_IT_FALLING;
  GPIO_InitStruct.Pull = GPIO_PULLUP;
  HAL_GPIO_Init(GPIOB, &GPIO_InitStruct);

  /*Configure GPIO pin : TFT_EN_Pin */
  GPIO_InitStruct.Pin = TFT_EN_Pin;
  GPIO_InitStruct.Mode = GPIO_MODE_IT_RISING_FALLING;
  GPIO_InitStruct.Pull = GPIO_PULLUP;
  HAL_GPIO_Init(TFT_EN_GPIO_Port, &GPIO_InitStruct);

  /* EXTI interrupt init*/
  HAL_NVIC_SetPriority(EXTI4_IRQn, 0, 0);
  HAL_NVIC_EnableIRQ(EXTI4_IRQn);

  HAL_NVIC_SetPriority(EXTI15_10_IRQn, 4, 0);
  HAL_NVIC_EnableIRQ(EXTI15_10_IRQn);

}

/* USER CODE BEGIN 4 */
Status_Flag Init_SD(void){ //Creates the file and store the name in "nameFile" for future writings
	WriteMsg("Initializing the SD. Please, wait...\r\n");
	f_mount(&fs, "", 1);
	size=sprintf( (char *)Data, "log %d.csv\r\n", counterLog); //Creates the file name
//	HAL_UART_Transmit(&huart2, Data, size, 1000); //Show the name of the file
	memset(nameFile, 0, sizeof(nameFile)); //Borra la info de "Data"
	for(int i= 0; i < 256; i++) {
		nameFile[i] = Data[i];
	}
	HAL_UART_Transmit(&huart2, nameFile, size, 1000);
	f_open(&fil,Data, FA_OPEN_ALWAYS | FA_WRITE | FA_READ);
	f_lseek(&fil, fil.fsize);
	size=sprintf( (char *)Data, "%s,%s,%s,%s,%s,%s,%s,%s,%s,%s,%s,%s,%s,%s\n","Hour","Minute","Seconds","Day","Month","Temperature","Humidity","Pressure","C02","Light","PM1","PM2.5", "PM10","Temp2");
	f_puts(Data, &fil);
	f_close(&fil);
	return STATUS_OK;
}

Status_Flag Write_SD(char* p){
	f_open(&fil,nameFile, FA_OPEN_ALWAYS | FA_WRITE | FA_READ);
	f_lseek(&fil, fil.fsize);
	f_puts(p, &fil);
	f_close(&fil);
	return STATUS_OK;
}// END FN.

Status_Flag Init_Sensors(void){
	WriteMsg("Initializing all the sensors. Please Wait...\r\n");

	if (SCD30_Init(&hi2c1)){ //CO2 sensor
		SensorList.SCD30 = true;
		WriteMsg("SCD30 sensor works fine.\r\n");
		SCD30_Start(); //CHECK THIS!
	} else {
		SensorList.SCD30 = false;
		WriteMsg("Error with SCD30 sensor! Please check it.\r\n");
	}

	if (Init_BMP280()){ //Temp, Hum and Pressure sensor
		SensorList.BMP280= true;
		WriteMsg("BMP280 sensor works fine.\r\n");
	} else {
		SensorList.BMP280= false;
		WriteMsg("Error with  BMP280 sensor! Please check it.\r\n");
	}

	if (SHT2x_Init(&hi2c1)){ //Temp and Hum Sensor
		SHT2x_SetResolution(RES_12_8);
		SensorList.SHT21=true;
		WriteMsg("SHT21 sensor works fine.\r\n");
	} else {
		SensorList.SHT21= false;
		WriteMsg("Error with the SHT21 sensor! Please check it.\r\n");
	}

}//END FN.

Status_Flag Read_All_Sensors(void){
	if (SensorList.BMP280) {
		Read_BMP280();
	} else {
		Init_BMP280();
	}
	if (SensorList.SHT21) {
		temperature2=SHT2x_GetTemperature();
	} else {
		SHT2x_SoftReset();
	}
	SCD30_Read(&temperature3, &humidity3, &CO2);

	readFinished = true;
	WriteMsg("Reading finished\r\n");

	/*
	size=sprintf( (char *)Data, "The CO2 is %.2f\r\n", CO2);
	HAL_UART_Transmit(&huart2, Data, size, 1000);
	size=sprintf( (char *)Data, "The Temp3 is %.2f\r\n", temperature3);
	HAL_UART_Transmit(&huart2, Data, size, 1000);
	size=sprintf( (char *)Data, "The HUM3 is %.2f\r\n", humidity3);
	HAL_UART_Transmit(&huart2, Data, size, 1000);
	*/

} //END FN.

Status_Flag Init_BMP280(void){
	bmp280_init_default_params(&bmp280.params);
	bmp280.addr = BMP280_I2C_ADDRESS_0;
	bmp280.i2c= &hi2c1;
	if (bmp280_init(&bmp280, &bmp280.params)) {
		bool bme280p = bmp280.id == BME280_CHIP_ID;
		if (bme280p){
			WriteMsg("BME280 Found\r\n");
		} else {
			WriteMsg("BMP280 Found\r\n");
		}
		SensorList.BMP280= true;
		return STATUS_OK;
	} else {
		SensorList.BMP280= false;
		return STATUS_FAIL;
	}
}//END FN.

Status_Flag Read_BMP280(void){
	if (!bmp280_read_float(&bmp280, &temperature, &pressure, &humidity)){
		WriteMsg("A problem occurred with BME280\r\n");
		SensorList.BMP280=false;
		return STATUS_FAIL;
	} else {
		WriteMsg("Correct reading from BME280\r\n");
		pressure=pressure/100;
		SensorList.BMP280=true;
		return STATUS_OK;
	}
}//END FN.

void WriteMsg(char message[]){
	size = sprintf((char *)Data, message);
	HAL_UART_Transmit(&huart2, Data, size, 1000);
}//END FN.

Status_Flag Read_Dust(void){
	__HAL_UART_FLUSH_DRREGISTER(&huart1);
	memset(rxbuf, 0, sizeof(rxbuf)); //Clean the buffer for reception
	HAL_UART_Receive(&huart1, rxbuf,32,2000);

//	PMS5003.density_2_5um= 0;
//	PMS5003.density_5_0um= 0;
//	PMS5003.density_10um= 0;
	PMS5003.PM1_0_atmospheric= 0;
	PMS5003.PM2_5_atmospheric= 0;
	PMS5003.PM10_atmospheric= 0;

	PMS5003.PM1_0_atmospheric= (rxbuf[10]<<8) + rxbuf[11];
	PMS5003.PM2_5_atmospheric= (rxbuf[12]<<8) + rxbuf[13];
	PMS5003.PM10_atmospheric= (rxbuf[14]<<8) + rxbuf[15];
//	PMS5003.density_2_5um= (rxbuf[22]<<8) + rxbuf[23];
//	PMS5003.density_5_0um= (rxbuf[24]<<8) + rxbuf[25];
//	PMS5003.density_10um= (rxbuf[26]<<8) + rxbuf[27];

	return STATUS_OK;
} //END FN.

Status_Flag Set_Status(void){

	if (SensorList.BMP280 && SensorList.SCD30 && SensorList.SHT21){
		HAL_GPIO_WritePin(SENSORS_STATUS_GPIO_Port, SENSORS_STATUS_Pin, 1);
		WriteMsg("Read finished TRUE\r\n");
	} else {
		HAL_GPIO_WritePin(SENSORS_STATUS_GPIO_Port, SENSORS_STATUS_Pin, 0);
		WriteMsg("Read finished FALSE \r\n");
	}

	if (storeSD) {
		HAL_GPIO_WritePin(SD_STATUS_GPIO_Port, SD_STATUS_Pin, 1);
		WriteMsg("SD Status TRUE\r\n");
	} else {
		HAL_GPIO_WritePin(SD_STATUS_GPIO_Port, SD_STATUS_Pin, 0);
		WriteMsg("SD Status FALSE\r\n");
	}
}//END FN.

Status_Flag Leer_TFTSwitch(void){
	if (HAL_GPIO_ReadPin(TFT_EN_GPIO_Port, TFT_EN_Pin) == 0){ //If pressed, 0V (Pull up)
		showTFT=true;
		Commands[0]=0xA0;
		WriteMsg("TFT ENABLED\r\n");
	} else {
		showTFT=false;
		Commands[0]=0xA1;
		WriteMsg("TFT Disabled\r\n");
	}
}//END FN.

void HAL_TIM_PeriodElapsedCallback(TIM_HandleTypeDef *htim){ //Each x seconds. Default: 30s

	if (htim == &htim2){ //Cada 30s
		if(tim2First){ //If it was the first time IT
			tim2First=false;
		} else {
			WriteMsg("TIM2 reached (30s)\r\n");
			timeLimit = HAL_RTCEx_BKUPRead(&hrtc, RTC_BKP_DR3); //Default = 30s
//			counter30s++;

			if (intervalSet){ //If the interval was changed for the first time.
				counter30s=timeLimit;
				intervalSet=false;
			} else {
				counter30s++;
			}

			if (counter30s == timeLimit){
				WriteMsg("Counter30s igual a Limit\r\n");
				counter30s=0;
				state = GET_TIMEDATE;
			}
		}
	}

//	if (htim==&htim3){ //Cada 200ms
//		WriteMsg("TIM3 IT\r\n");
//		if(tim3First){
//			WriteMsg("Set tim3First false\r\n");
//			tim3First=false;
//		}
//
//		if(txFirstFinished && counter200Flag){ //Check this!! maybe need to be deleted
//			WriteMsg("Sending count 200ms\r\n");
//			counter200++;
//			if (counter200==10) { //2 seconds
//				counter200Flag=false;
//			}
//		}
//
//		if(!tim3First && !txFirstFinished){
//			counterSend++;
////			counterSend=1; //debug. erase later
//			switch (counterSend) {
//				case 1:
//					WriteMsg("1st value sending... \r\n");
//					temperature=25.2;
//					u.value = temperature;
//					HAL_GPIO_TogglePin(TFT_GPIO_Port, TFT_Pin);
//					HAL_UART_Transmit(&huart3, u.bytes, 4, HAL_MAX_DELAY); //Transmit to the TFT
//					WriteMsg("TX 2... \r\n");
////					WriteMsg("El MSJ fue:... \r\n");
////					HAL_UART_Transmit(&huart2, u.bytes, 4, HAL_MAX_DELAY); //Transmit to the debug
//					memset(bytes, 0, 4);
////					counterSend=2; //debug, erase later
////					NVIC_SystemReset();
//					break;
//
//				case 2:
//					WriteMsg("2nd value sending... \r\n");
//					humidity=47.89;
//					u.value = humidity;
//					HAL_GPIO_TogglePin(TFT_GPIO_Port, TFT_Pin);
//					HAL_UART_Transmit(&huart3, u.bytes, 4, HAL_MAX_DELAY); //Transmit to the TFT
//					WriteMsg("TX 3... \r\n");
////					WriteMsg("El MSJ fue:... \r\n");
////					HAL_UART_Transmit(&huart2, u.bytes, 4, HAL_MAX_DELAY); //Transmit to the debug
//					memset(bytes, 0, 4);
////					counterSend=1; //debug, erase later
//					//NVIC_SystemReset();
//					break;
//
//				case 3:
//					HAL_GPIO_TogglePin(TFT_GPIO_Port, TFT_Pin);
//					size=sprintf( (char *)DataTFT, "Press:780.5\n");
//					HAL_UART_Transmit(&huart3, DataTFT, 256,1000);
//					memset(DataTFT, 0, 255);
//					counterSend=0;
//					txFirstFinished=true;
//					break;
//
//				default:
//					//NOTHING
//					break;
//			}
//		}
//
//		if(counter200Flag==false && !txSecondFinished){
//			counter200=0;
//			counterSend++;
//			WriteMsg("Sending 2nd block\r\n");
//			switch (counterSend) {
//				case 1:
//					HAL_GPIO_TogglePin(TFT_GPIO_Port, TFT_Pin);
//					size=sprintf( (char *)DataTFT, "PM2.5:%d\n",PMS5003.PM2_5_atmospheric);
//					HAL_UART_Transmit(&huart3, DataTFT, 256,1000);
//					memset(DataTFT, 0, 255);
//					break;
//				case 2:
//					HAL_GPIO_TogglePin(TFT_GPIO_Port, TFT_Pin);
//					size=sprintf( (char *)DataTFT, "PM10:%d\n",PMS5003.PM10_atmospheric);
//					HAL_UART_Transmit(&huart3, DataTFT, 256,1000);
//					memset(DataTFT, 0, 255);
//					break;
//
//				case 3:
//					HAL_GPIO_TogglePin(TFT_GPIO_Port, TFT_Pin);
//					size=sprintf( (char *)DataTFT, "CO2:%.2f\n",CO2);
//					HAL_UART_Transmit(&huart3, DataTFT, 256,1000);
//					memset(DataTFT, 0, 255);
//					counterSend=0;
//					txSecondFinished=true;
//					state=SEND_DATA;
//					break;
//				default:
//					//NOTHING
//					break;
//			}
//		}
//
//	}
}//END FN.

void HAL_GPIO_EXTI_Callback (uint16_t GPIO_Pin){
//	WriteMsg("EXTI GRAL!\r\n");

	if (GPIO_Pin == BTN_SD_Pin){ //Remove or Insert the SD.
		WriteMsg("Botonazo de SD!\r\n");
			counterSD++;
			if(counterSD == 1){ //Pressed to remove the SD
				HAL_TIM_Base_Stop(&htim2); //Stop the main Timer for x seconds
				timActive=false;
				WriteMsg("Timer detenido \r\n");
				state=REMOVE_SD;
			}
			else if(counterSD == 2){
				state=INSERT_SD;
			}
	}
	else if (GPIO_Pin == TFT_EN_Pin){
			WriteMsg("Leyendo pin TFT\r\n");
			Leer_TFTSwitch();
			Send_Commands();
	}

	else if (GPIO_Pin == BTN_INTERVAL_Pin){

		HAL_RTCEx_BKUPWrite(&hrtc, RTC_BKP_DR4, 0x1010); //To indicate that the interval button was pressed
		counterInterval++;

		switch (counterInterval) {
			case 1:
				HAL_TIM_Base_Stop(&htim2); //Stop the main Timer for x seconds
				timActive=false;
				timeLimit= SEG_30;
				counter30s=0;
				HAL_RTCEx_BKUPWrite(&hrtc, RTC_BKP_DR3, timeLimit); //Stores the value for future files
				Calculate_Time(timeLimit);
				Send_Commands();
				__HAL_TIM_SET_COUNTER(&htim2,43689); //Force to show the data within the next 10s after select each interval
				WriteMsg("set 30 seconds \r\n");
				intervalSet=true;
				state=IDLE;
				break;

			case 2:
				HAL_TIM_Base_Stop(&htim2); //Stop the main Timer for x seconds
				timActive=false;
				timeLimit= MIN_1;
				counter30s=0;
				HAL_RTCEx_BKUPWrite(&hrtc, RTC_BKP_DR3, timeLimit); //Stores the value for future files
				Calculate_Time(timeLimit);
				Send_Commands();
				__HAL_TIM_SET_COUNTER(&htim2,43689);
				WriteMsg("Set 1 Min \r\n");
				intervalSet=true;
				state=IDLE;
				break;

			case 3:
				HAL_TIM_Base_Stop(&htim2); //Stop the main Timer for x seconds
				timActive=false;
				timeLimit= MIN_10;
				counter30s=0;
				HAL_RTCEx_BKUPWrite(&hrtc, RTC_BKP_DR3, timeLimit); //Stores the value for future files
				Calculate_Time(timeLimit);
				Send_Commands();
				__HAL_TIM_SET_COUNTER(&htim2,43689);
				WriteMsg("Set 10 Min \r\n");
				intervalSet=true;
				state=IDLE;
				break;

			case 4:
				HAL_TIM_Base_Stop(&htim2); //Stop the main Timer for x seconds
				timActive=false;
				timeLimit= MIN_30;
				counter30s=0;
				HAL_RTCEx_BKUPWrite(&hrtc, RTC_BKP_DR3, timeLimit); //Stores the value for future files
				Calculate_Time(timeLimit);
				Send_Commands();
				__HAL_TIM_SET_COUNTER(&htim2,43689);
				WriteMsg("Set 30 Min \r\n");
				intervalSet=true;
				state=IDLE;
				break;

			case 5:
				HAL_TIM_Base_Stop(&htim2); //Stop the main Timer for x seconds
				timActive=false;
				timeLimit= HR_1;
				counter30s=0;
				HAL_RTCEx_BKUPWrite(&hrtc, RTC_BKP_DR3, timeLimit); //Stores the value for future files
				Calculate_Time(timeLimit);
				Send_Commands();
				__HAL_TIM_SET_COUNTER(&htim2,43690);
				WriteMsg("Set 1 HR \r\n");
				intervalSet=true;
				state=IDLE;
				break;

			case 6:
				HAL_TIM_Base_Stop(&htim2); //Stop the main Timer for x seconds
				timActive=false;
				timeLimit= HR_12; //12hr
				counter30s=0;
				HAL_RTCEx_BKUPWrite(&hrtc, RTC_BKP_DR3, timeLimit); //Stores the value for future files
				Calculate_Time(timeLimit);
				Send_Commands();
				__HAL_TIM_SET_COUNTER(&htim2,43690);
				WriteMsg("Set 12 hr \r\n");
				intervalSet=true;
				state=IDLE;
				break;

			case 7:
				HAL_TIM_Base_Stop(&htim2); //Stop the main Timer for x seconds
				timActive=false;
				timeLimit= HR_24; //24hr
				counter30s=0;
				HAL_RTCEx_BKUPWrite(&hrtc, RTC_BKP_DR3, timeLimit); //Stores the value for future files
				Calculate_Time(timeLimit);
				Send_Commands();
				__HAL_TIM_SET_COUNTER(&htim2,43690);
				WriteMsg("Set 24 hr \r\n");
				intervalSet=true;
				counterInterval=0;
				state=IDLE;
				break;

			default:
				timeLimit= SEG_30;
				break;
		}
	}

//	if (sdPresent) {
//		state=REMOVE_SD;
//		sdPresent = false; //SD was removed
//		HAL_GPIO_TogglePin(LED_SD_GPIO_Port, LED_SD_Pin);
//	} else {
//		state=INSERT_SD;
//		sdPresent=true;
//		HAL_GPIO_TogglePin(LED_SD_GPIO_Port, LED_SD_Pin);
//	}
}//END FN.

void HAL_UART_TxCpltCallback(UART_HandleTypeDef *huart){
	WriteMsg("IT UART EXECUTED!");
	counterRx++;
	switch (counterRx) {
		case 1:
			humidity= 47.89;
			u.value = humidity;
			WriteMsg("humidity value sending... \r\n");
			break;
		case 2:
			WriteMsg("Reseeet!... \r\n");
			NVIC_SystemReset();
			break;

		default:
			break;
	}

	HAL_UART_Transmit_IT(&huart3, u.bytes, 4);
	WriteMsg("TX 1... \r\n");
	memset(bytes, 0, 4);
}

Status_Flag SCD30_Init(I2C_HandleTypeDef *hi2c){
	WriteMsg("Iniciando SCD30 ...\r\n");
	uint8_t cmd[2]={FIRMWARE_MSB, FIRMWARE_LSB};
	uint8_t value[3]={0};
	scd30_i2c=hi2c;
	HAL_I2C_Master_Transmit(scd30_i2c, SCD30_I2C_ADDR, cmd, 2, 1000);
	HAL_Delay(1000);
	HAL_I2C_Master_Receive(scd30_i2c, SCD30_I2C_ADDR, &value, 3, 1000);
	HAL_Delay(1000);
	/*size=sprintf( (char *)Data, "Value 0 %x\r\n", value[0]);
	HAL_UART_Transmit(&huart2, Data, size, 1000);
	size=sprintf( (char *)Data, "Value 1 %x\r\n", value[1]);
	HAL_UART_Transmit(&huart2, Data, size, 1000);
	*/
	if ((value[0]<<8 | value[1]) == 834){
		return STATUS_OK;
		WriteMsg("regresa ok\r\n");
	} else{
		return STATUS_FAIL;
		WriteMsg("regresa Fail\r\n");
	}
}//END FN.

void SCD30_Start(){
	uint8_t cmd[5]={START_MEASURE_MSB, START_MEASURE_LSB, PRESSURE_MSB, PRESSURE_LSB, CRC};
	HAL_I2C_Master_Transmit(scd30_i2c, SCD30_I2C_ADDR, cmd, 5, 1000);
}//END FN.

void SCD30_Restart(){
	uint8_t cmd[2]={RESET_MSB, RESET_LSB};
	HAL_I2C_Master_Transmit(scd30_i2c, SCD30_I2C_ADDR, cmd, 2, 1000);
	WriteMsg("RESTART CO2 \r\n");
}//END FN.

Status_Flag SCD30_Read(float *temperature3, float* humidity3, float* CO2){
	uint8_t value[18]={0};
	unsigned char buffer[4];
	unsigned int tempU32;
	float result=0;

	uint8_t cmd[2]={READ_MSB, READ_LSB};
	HAL_I2C_Master_Transmit(scd30_i2c, SCD30_I2C_ADDR, cmd, 2, 1000);
	HAL_I2C_Master_Receive(scd30_i2c, SCD30_I2C_ADDR, &value, 18, 1000);

	tempU32 = (unsigned int) ((((unsigned int)value[0]) << 24) | (((unsigned int)value[1]) << 16) |
								 (((unsigned int)value[3]) << 8) |
								 ((unsigned int)value[4]));
	result= *(float*)&tempU32;
	*CO2= result;
	tempU32=0;

	tempU32 = (unsigned int) ((((unsigned int)value[6]) << 24) | (((unsigned int)value[7]) << 16) |
								 (((unsigned int)value[9]) << 8) |
								 ((unsigned int)value[10]));
	result= *(float*)&tempU32;
	*temperature3= result;
	tempU32=0;

	tempU32 = (unsigned int) ((((unsigned int)value[12]) << 24) | (((unsigned int)value[13]) << 16) |
								 (((unsigned int)value[15]) << 8) |
								 ((unsigned int)value[16]));
	result= *(float*)&tempU32;
	*humidity3= result;
	tempU32=0;

//	buffer[0]=value[6];
//	buffer[1]=value[7];
//	buffer[2]=value[9];
//	buffer[3]=value[10];
//	result= *(float*)&tempU32;
	return STATUS_OK;
}//END FN.

void Calculate_Time(uint16_t time){
	switch (time) {
		case SEG_30:
			Commands[1]=0xB0;
			break;

		case MIN_1:
			Commands[1]=0xB1;
			break;

		case MIN_10:
			Commands[1]=0xB2;
			break;

		case MIN_30:
			Commands[1]=0xB3;
			break;

		case HR_1:
			Commands[1]=0xB4;
			break;

		case HR_12:
			Commands[1]=0xB5;
			break;

		case HR_24:
			Commands[1]=0xB6;
			break;

		default:
			break;
	}
}

void Calculate_SdStat(void){

	if (storeSD){
		Commands[2]=0xC0;
	} else {
		Commands[2]=0xC1;
	}

	if (SensorList.BMP280 || SensorList.SCD30 ||SensorList.SHT21 || SensorList.dust){
		Commands[3]=0xD0;
	} else {
		Commands[3]=0xD1;
	}

} //END FN.

void Send_Commands(void){
	WriteMsg("Sending instructions");
	HAL_GPIO_WritePin(TFT_GPIO_Port, TFT_Pin, 0);
//	Commands[0]=0xA0; //Debug
//	Commands[1]=0xB0;
//	Commands[2]=0xC0;
//	Commands[3]=0xD0;
	HAL_UART_Transmit(&huart3,Commands,4,HAL_MAX_DELAY); //Transmit to the TFT

} //END FN.

//void float2Bytes(float val, BYTE* bytes_array){
//  // Create union of shared memory space
//  union {
//    float value;
//    uint8_t array[4];
//  } u;
//
//  u.value = val;
//  memcpy(bytes_array, u.temp_array, 4);// Assign bytes to input array
//} //END FN

/* USER CODE END 4 */

void Error_Handler(void)
{
  __disable_irq();
  while (1)
  {
  }
}
